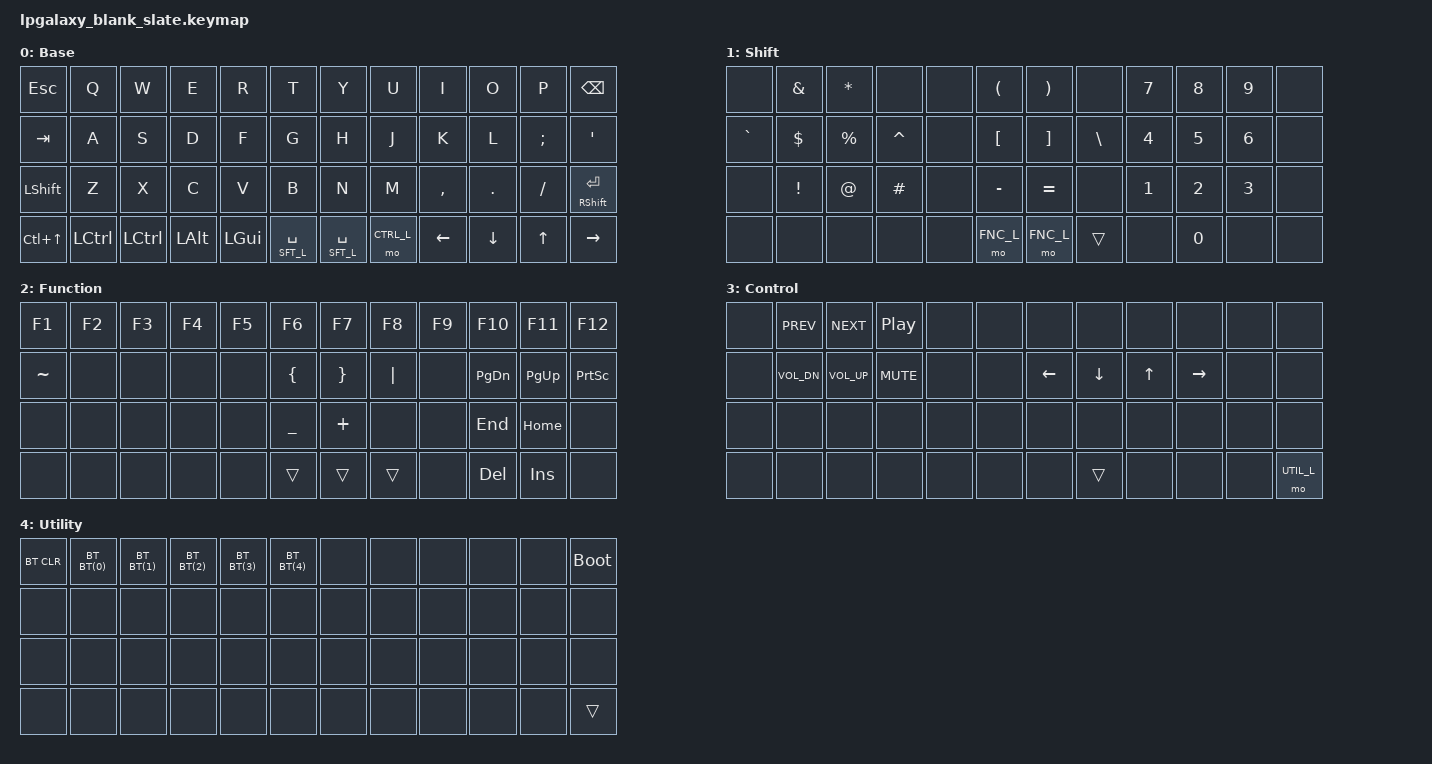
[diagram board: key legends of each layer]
 /*
 * Copyright (c) 2022 Pete Johanson
 *
 * SPDX-License-Identifier: MIT
 */

#include <behaviors.dtsi>
#include <dt-bindings/zmk/keys.h>
#include <dt-bindings/zmk/bt.h>
#include <dt-bindings/zmk/outputs.h>

#define SFT_L 1
#define FNC_L 2
#define CTRL_L 3
#define UTIL_L 4

// Using layer taps on thumbs, having quick tap as well helps w/ repeating space/backspace
&lt { quick_tap_ms = <200>; };

#define BT(n) BT_SEL n

/ {
    chosen {
       zmk,physical-layout =
#ifdef TBLE_DUAL_2U
                       &layout_ortho_4x12_2x2u;
#elif defined(TBLE_MIT)
                       &layout_ortho_4x12_1x2u;
#else
                       &layout_ortho_4x12_all1u;
#endif
    };

    tap_dances {
        shifty: shift_caps_word {
            compatible = "zmk,behavior-tap-dance";
            label = "TD_SHIFTY";
            #binding-cells = <0>;
            tapping-term-ms = <150>;
            bindings = <&kp LSHFT>, <&caps_word>;
        };
    };

    keymap {
        compatible = "zmk,keymap";

        base_layer {
            label = "Base";
            bindings = <
&kp ESC     &kp Q       &kp W       &kp E       &kp R       &kp T               &kp Y               &kp U           &kp I       &kp O       &kp P        &kp BSPC
&kp TAB     &kp A       &kp S       &kp D       &kp F       &kp G               &kp H               &kp J           &kp K       &kp L       &kp SEMI     &kp SQT
&kp LSHIFT  &kp Z       &kp X       &kp C       &kp V       &kp B               &kp N               &kp M           &kp COMMA   &kp DOT     &kp SLASH    &mt RSHIFT RET
&kp LC(UP)  &kp LCTRL 	&kp LCTRL   &kp LALT    &kp LGUI    &lt SFT_L SPACE	    &lt SFT_L SPACE     &mo CTRL_L      &kp LEFT    &kp DOWN    &kp UP 	     &kp RIGHT
            >;
        };

        sft_layer {
            label = "Shift";
            bindings = <
&none       &kp AMPS   &kp STAR    &none       &none       &kp LPAR    &kp RPAR   &none       &kp N7   &kp N8   &kp N9   &none
&kp GRAVE   &kp DLLR   &kp PRCNT   &kp CARET   &none       &kp LBKT    &kp RBKT   &kp BSLH    &kp N4   &kp N5   &kp N6   &none
&none       &kp EXCL   &kp AT      &kp HASH    &none       &kp MINUS   &kp EQUAL  &none       &kp N1   &kp N2   &kp N3   &none
&none 	    &none      &none       &none       &none       &mo FNC_L   &mo FNC_L  &trans      &none    &kp N0   &none    &none
            >;
        };

        fnc_layer {
            label = "Function";
            bindings = <
&kp F1      &kp F2   &kp F3   &kp F4      &kp F5      &kp F6      &kp F7      &kp F8     &kp F9    &kp F10     &kp F11      &kp F12
&kp TILDE   &none    &none    &none       &none       &kp LBRC    &kp RBRC    &kp PIPE   &none     &kp PG_DN   &kp PG_UP    &kp PSCRN
&none       &none    &none    &none       &none       &kp UNDER   &kp PLUS    &none      &none     &kp END     &kp HOME     &none
&none       &none    &none    &none       &none       &trans      &trans      &trans     &none     &kp DEL     &kp INS      &none
            >;
        };

        ctrl_layer {
            label = "Control";
            bindings = <
&none   &kp C_PREV     &kp C_NEXT     &kp C_PP      &none   &none   &none       &none       &none   &none       &none   &none
&none   &kp C_VOL_DN   &kp C_VOL_UP   &kp C_MUTE    &none   &none   &kp LEFT    &kp DOWN    &kp UP  &kp RIGHT   &none   &none
&none   &none          &none          &none         &none   &none   &none       &none       &none   &none       &none   &none
&none   &none          &none          &none         &none   &none   &none       &trans      &none   &none       &none   &mo UTIL_L
            >;
        };

        util_layer {
            label = "Utility";
            bindings = <
&bt BT_CLR  &bt BT(0)   &bt BT(1)   &bt BT(2)   &bt BT(3)   &bt BT(4)   &none   &none   &none   &none   &none   &bootloader
&none       &none       &none       &none       &none       &none       &none   &none   &none   &none   &none   &none
&none       &none       &none       &none       &none       &none       &none   &none   &none   &none   &none   &none
&none       &none       &none       &none       &none       &none       &none   &none   &none   &none   &none   &trans
            >;
        };

    };
};

